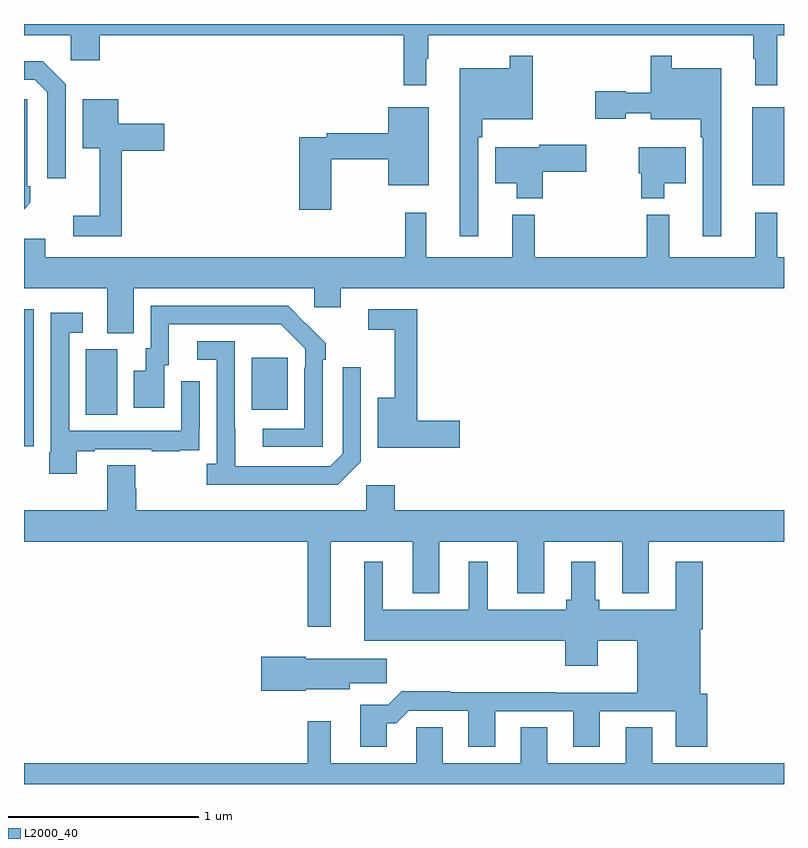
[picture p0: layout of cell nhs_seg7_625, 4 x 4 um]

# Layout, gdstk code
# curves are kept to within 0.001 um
import gdstk
lib = gdstk.Library(unit=1e-6, precision=1e-09)
def R(c, l, rs):  # rectangles x0, y0, x1, y1
    for r in rs: c.add(gdstk.rectangle(r[:2], r[2:], *l))
def P(c, l, *ps):  # polygons
    for p in ps: c.add(gdstk.Polygon(p, *l))
L2000_40 = (2000, 40)

nhs_seg7_625 = lib.new_cell('nhs_seg7_625')
R(nhs_seg7_625, L2000_40, [(159.326,1007.944,159.49,1008.288), (160.199,1007.969,160.387,1008.244), (162.833,1009.151,163,1009.561)])
P(nhs_seg7_625, L2000_40, [(161.116,1009.817),(161.128,1009.817),(161.128,1009.94),(162.837,1009.94),(162.837,1009.817),(162.848,1009.817),(162.848,1009.677),(162.965,1009.677),(162.965,1009.94),(163,1009.94),(163,1010),(159,1010),(159,1009.94),(159.246,1009.94),(159.246,1009.809),(159.398,1009.809),(159.398,1009.94),(160.999,1009.94),(160.999,1009.677),(161.116,1009.677)],
  [(161.391,1009.403),(161.411,1009.403),(161.411,1009.499),(161.677,1009.499),(161.677,1009.834),(161.556,1009.834),(161.556,1009.768),(161.294,1009.768),(161.294,1008.882),(161.391,1008.882)],
  [(162.67,1009.768),(162.409,1009.768),(162.409,1009.834),(162.299,1009.834),(162.299,1009.639),(162.168,1009.639),(162.168,1009.647),(162.006,1009.647),(162.006,1009.502),(162.168,1009.502),(162.168,1009.529),(162.299,1009.529),(162.299,1009.499),(162.561,1009.499),(162.561,1009.403),(162.573,1009.403),(162.573,1008.882),(162.67,1008.882)],
  [(159.219,1009.683),(159.098,1009.804),(159,1009.804),(159,1009.707),(159.057,1009.707),(159.123,1009.641),(159.123,1009.188),(159.219,1009.188)],
  [(159.033,1009.059),(159.033,1009.147),(159.018,1009.147),(159.018,1009.605),(159,1009.605),(159,1009.026)],
  [(159.515,1009.334),(159.739,1009.334),(159.739,1009.476),(159.496,1009.476),(159.496,1009.603),(159.308,1009.603),(159.308,1009.346),(159.398,1009.346),(159.398,1008.991),(159.258,1008.991),(159.258,1008.882),(159.515,1008.882)],
  [(160.618,1009.288),(160.916,1009.288),(160.916,1009.151),(161.131,1009.151),(161.131,1009.561),(160.916,1009.561),(160.916,1009.424),(160.594,1009.424),(160.594,1009.404),(160.448,1009.404),(160.448,1009.023),(160.618,1009.023)],
  [(161.729,1009.222),(161.959,1009.222),(161.959,1009.364),(161.712,1009.364),(161.712,1009.351),(161.48,1009.351),(161.48,1009.163),(161.594,1009.163),(161.594,1009.082),(161.729,1009.082)],
  [(162.37,1009.163),(162.484,1009.163),(162.484,1009.351),(162.236,1009.351),(162.236,1009.215),(162.248,1009.215),(162.248,1009.082),(162.37,1009.082)],
  [(159.577,1008.608),(160.527,1008.608),(160.527,1008.51),(160.666,1008.51),(160.666,1008.608),(163,1008.608),(163,1008.772),(162.965,1008.772),(162.965,1009.006),(162.848,1009.006),(162.848,1008.772),(162.395,1008.772),(162.395,1008.997),(162.277,1008.997),(162.277,1008.772),(161.687,1008.772),(161.687,1008.997),(161.57,1008.997),(161.57,1008.772),(161.117,1008.772),(161.117,1009.006),(161.007,1009.006),(161.007,1008.772),(159.112,1008.772),(159.112,1008.87),(159,1008.87),(159,1008.608),(159.437,1008.608),(159.437,1008.373),(159.577,1008.373)],
  [(160.572,1008.233),(160.587,1008.233),(160.587,1008.321),(160.39,1008.516),(159.666,1008.516),(159.666,1008.294),(159.641,1008.294),(159.641,1008.175),(159.578,1008.175),(159.578,1007.979),(159.739,1007.979),(159.739,1008.204),(159.763,1008.204),(159.763,1008.42),(160.351,1008.42),(160.479,1008.291),(160.479,1008.191),(160.476,1008.191),(160.476,1007.871),(160.257,1007.871),(160.257,1007.775),(160.572,1007.775)],
  [(161.293,1007.912),(161.069,1007.912),(161.069,1008.498),(160.812,1008.498),(160.812,1008.39),(160.952,1008.39),(160.952,1008.034),(160.862,1008.034),(160.862,1007.77),(161.293,1007.77)],
  [(159.052,1008.203),(159.051,1008.203),(159.051,1008.498),(159,1008.498),(159,1007.777),(159.052,1007.777)],
  [(159.277,1007.751),(159.373,1007.751),(159.373,1007.763),(159.673,1007.763),(159.673,1007.751),(159.821,1007.751),(159.821,1007.757),(159.923,1007.757),(159.923,1007.866),(159.924,1007.866),(159.924,1008.121),(159.828,1008.121),(159.828,1007.859),(159.237,1007.859),(159.237,1008.375),(159.31,1008.375),(159.31,1008.481),(159.141,1008.481),(159.141,1007.746),(159.133,1007.746),(159.133,1007.634),(159.277,1007.634)],
  [(160.773,1007.697),(160.773,1008.193),(160.677,1008.193),(160.677,1007.739),(160.611,1007.673),(160.111,1007.673),(160.11,1008.33),(159.912,1008.33),(159.912,1008.234),(160.014,1008.234),(160.014,1007.686),(159.963,1007.686),(159.963,1007.576),(160.652,1007.576)],
  [(160.615,1007.276),(161.045,1007.276),(161.045,1007.003),(161.185,1007.003),(161.185,1007.276),(161.597,1007.276),(161.597,1007.003),(161.737,1007.003),(161.737,1007.276),(162.149,1007.276),(162.149,1007.003),(162.289,1007.003),(162.289,1007.276),(163,1007.276),(163,1007.44),(160.952,1007.44),(160.952,1007.572),(160.8,1007.572),(160.8,1007.44),(159.59,1007.44),(159.59,1007.553),(159.585,1007.553),(159.585,1007.678),(159.437,1007.678),(159.437,1007.44),(159,1007.44),(159,1007.276),(160.494,1007.276),(160.494,1006.827),(160.615,1006.827)],
  [(160.909,1006.319),(160.958,1006.319),(161.025,1006.386),(161.339,1006.386),(161.339,1006.197),(161.479,1006.197),(161.479,1006.383),(161.891,1006.383),(161.891,1006.197),(162.031,1006.197),(162.031,1006.383),(162.431,1006.383),(162.431,1006.197),(162.596,1006.197),(162.596,1006.476),(162.559,1006.476),(162.559,1006.814),(162.572,1006.814),(162.572,1007.17),(162.431,1007.17),(162.431,1006.918),(162.027,1006.918),(162.027,1006.971),(162.007,1006.971),(162.007,1007.17),(161.879,1007.17),(161.879,1006.971),(161.854,1006.971),(161.854,1006.918),(161.44,1006.918),(161.44,1007.17),(161.342,1007.17),(161.342,1006.918),(160.888,1006.918),(160.888,1007.17),(160.79,1007.17),(160.79,1006.754),(161.849,1006.754),(161.849,1006.623),(162.019,1006.623),(162.019,1006.754),(162.227,1006.754),(162.227,1006.48),(161.795,1006.48),(161.795,1006.484),(161.243,1006.484),(161.243,1006.487),(160.988,1006.487),(160.918,1006.417),(160.769,1006.417),(160.769,1006.197),(160.909,1006.197)],
  [(160.482,1006.499),(160.714,1006.499),(160.714,1006.531),(160.909,1006.531),(160.909,1006.66),(160.482,1006.66),(160.482,1006.67),(160.248,1006.67),(160.248,1006.492),(160.482,1006.492)],
  [(163,1006.108),(162.307,1006.108),(162.307,1006.298),(162.167,1006.298),(162.167,1006.108),(161.755,1006.108),(161.755,1006.298),(161.615,1006.298),(161.615,1006.108),(161.203,1006.108),(161.203,1006.298),(161.064,1006.298),(161.064,1006.108),(160.615,1006.108),(160.615,1006.33),(160.494,1006.33),(160.494,1006.108),(159,1006.108),(159,1006),(163,1006)])

lib.write_gds('nhs_seg7_625.gds')
